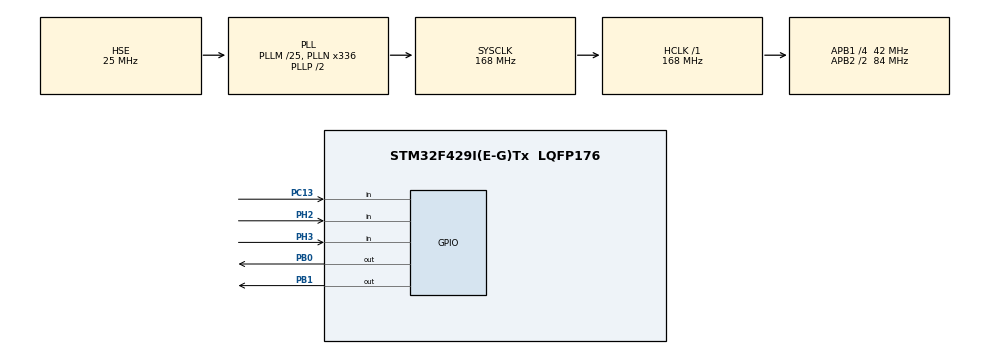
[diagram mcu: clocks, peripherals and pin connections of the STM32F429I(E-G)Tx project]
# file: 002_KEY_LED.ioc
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Mcu.Family=STM32F4
Mcu.Name=STM32F429I(E-G)Tx
Mcu.Package=LQFP176
NVIC.PriorityGroup=NVIC_PRIORITYGROUP_4
PA13.Mode=Serial_Wire
PA13.Signal=SYS_JTMS-SWDIO
PA14.Mode=Serial_Wire
PA14.Signal=SYS_JTCK-SWCLK
PB0.Signal=GPIO_Output
PB1.Signal=GPIO_Output
PC13.GPIO_PuPd=GPIO_PULLUP
PC13.Signal=GPIO_Input
PH0/OSC_IN.Mode=HSE-External-Oscillator
PH0/OSC_IN.Signal=RCC_OSC_IN
PH1/OSC_OUT.Mode=HSE-External-Oscillator
PH1/OSC_OUT.Signal=RCC_OSC_OUT
PH2.GPIO_PuPd=GPIO_PULLUP
PH2.Signal=GPIO_Input
PH3.GPIO_PuPd=GPIO_PULLUP
PH3.Signal=GPIO_Input
ProjectManager.HeapSize=0x200
ProjectManager.StackSize=0x400
ProjectManager.TargetToolchain=MDK-ARM V5
RCC.48MHZClocksFreq_Value=84000000
RCC.AHBFreq_Value=168000000
RCC.APB1CLKDivider=RCC_HCLK_DIV4
RCC.APB1Freq_Value=42000000
RCC.APB1TimFreq_Value=84000000
RCC.APB2CLKDivider=RCC_HCLK_DIV2
RCC.APB2Freq_Value=84000000
RCC.APB2TimFreq_Value=168000000
RCC.CortexFreq_Value=168000000
RCC.HCLKFreq_Value=168000000
RCC.HSE_VALUE=25000000
RCC.HSI_VALUE=16000000
RCC.LSE_VALUE=32768
RCC.PLLM=25
RCC.PLLN=336
RCC.PLLSourceVirtual=RCC_PLLSOURCE_HSE
RCC.SYSCLKFreq_VALUE=168000000
RCC.SYSCLKSource=RCC_SYSCLKSOURCE_PLLCLK
RCC.VCOOutputFreq_Value=336000000
board=custom

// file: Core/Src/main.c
/* USER CODE BEGIN Header */
/**
  ******************************************************************************
  * @file           : main.c
  * @brief          : Main program body
  ******************************************************************************
  * @attention
  *
  * <h2><center>&copy; Copyright (c) 2023 STMicroelectronics.
  * All rights reserved.</center></h2>
  *
  * This software component is licensed by ST under BSD 3-Clause license,
  * the "License"; You may not use this file except in compliance with the
  * License. You may obtain a copy of the License at:
  *                        opensource.org/licenses/BSD-3-Clause
  *
  ******************************************************************************
  */
/* USER CODE END Header */
#include "main.h"
#include "gpio.h"

void SystemClock_Config(void);

/* USER CODE BEGIN 0 */
# define KEY0 HAL_GPIO_ReadPin(GPIOH,GPIO_PIN_3)
# define KEY1 HAL_GPIO_ReadPin(GPIOH,GPIO_PIN_2)
# define KEY2 HAL_GPIO_ReadPin(GPIOC,GPIO_PIN_13)

void Scan_Keys()
{
    if(KEY0 == 0)
    {
        HAL_Delay(100);
        if(KEY0 == 0)
        {
            while(KEY0 == 0);
            HAL_GPIO_TogglePin(GPIOB,GPIO_PIN_1);
        }
    }

		if(KEY1 == 0)
    {
        HAL_Delay(100);
        if(KEY1 == 0)
        {
            HAL_GPIO_TogglePin(GPIOB,GPIO_PIN_0);
            while(KEY1 == 0);
        }
    }

		if(KEY2 == 0)
    {
        HAL_Delay(100);
        if(KEY2 == 0)
        {
            HAL_GPIO_WritePin(GPIOB, GPIO_PIN_0|GPIO_PIN_1, 1);
            while(KEY2 == 0);
        }
    }
}
/* USER CODE END 0 */

int main(void)
{

  /* MCU Configuration--------------------------------------------------------*/

  /* Reset of all peripherals, Initializes the Flash interface and the Systick. */
  HAL_Init();

  /* Configure the system clock */
  SystemClock_Config();

  /* Initialize all configured peripherals */
  MX_GPIO_Init();

  /* Infinite loop */
  /* USER CODE BEGIN WHILE */
  while (1)
  {
		Scan_Keys();
    /* USER CODE END WHILE */

  }
}

void SystemClock_Config(void)
{
  RCC_OscInitTypeDef RCC_OscInitStruct = {0};
  RCC_ClkInitTypeDef RCC_ClkInitStruct = {0};

  /** Configure the main internal regulator output voltage
  */
  __HAL_RCC_PWR_CLK_ENABLE();
  __HAL_PWR_VOLTAGESCALING_CONFIG(PWR_REGULATOR_VOLTAGE_SCALE1);
  /** Initializes the RCC Oscillators according to the specified parameters
  * in the RCC_OscInitTypeDef structure.
  */
  RCC_OscInitStruct.OscillatorType = RCC_OSCILLATORTYPE_HSE;
  RCC_OscInitStruct.HSEState = RCC_HSE_ON;
  RCC_OscInitStruct.PLL.PLLState = RCC_PLL_ON;
  RCC_OscInitStruct.PLL.PLLSource = RCC_PLLSOURCE_HSE;
  RCC_OscInitStruct.PLL.PLLM = 25;
  RCC_OscInitStruct.PLL.PLLN = 336;
  RCC_OscInitStruct.PLL.PLLP = RCC_PLLP_DIV2;
  RCC_OscInitStruct.PLL.PLLQ = 4;
  if (HAL_RCC_OscConfig(&RCC_OscInitStruct) != HAL_OK)
  {
    Error_Handler();
  }
  /** Initializes the CPU, AHB and APB buses clocks
  */
  RCC_ClkInitStruct.ClockType = RCC_CLOCKTYPE_HCLK|RCC_CLOCKTYPE_SYSCLK
                              |RCC_CLOCKTYPE_PCLK1|RCC_CLOCKTYPE_PCLK2;
  RCC_ClkInitStruct.SYSCLKSource = RCC_SYSCLKSOURCE_PLLCLK;
  RCC_ClkInitStruct.AHBCLKDivider = RCC_SYSCLK_DIV1;
  RCC_ClkInitStruct.APB1CLKDivider = RCC_HCLK_DIV4;
  RCC_ClkInitStruct.APB2CLKDivider = RCC_HCLK_DIV2;

  if (HAL_RCC_ClockConfig(&RCC_ClkInitStruct, FLASH_LATENCY_5) != HAL_OK)
  {
    Error_Handler();
  }
}

void Error_Handler(void)
{
  __disable_irq();
  while (1)
  {
  }
}

/************************ (C) COPYRIGHT STMicroelectronics *****END OF FILE****/
